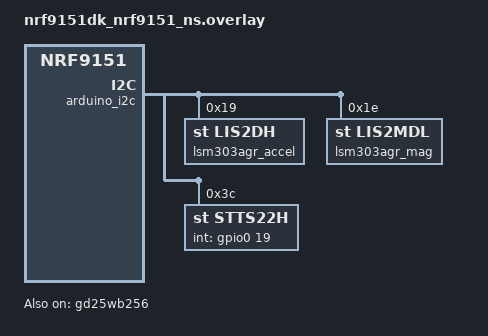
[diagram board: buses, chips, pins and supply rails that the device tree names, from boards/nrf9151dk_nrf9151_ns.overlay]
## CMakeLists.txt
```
cmake_minimum_required(VERSION 3.20.0)

set(DTC_OVERLAY_FILE ${CMAKE_CURRENT_SOURCE_DIR}/app0/boards/nrf9151dk_nrf9151_ns.overlay)

find_package(Zephyr REQUIRED HINTS $ENV{ZEPHYR_BASE})
project(app0)

target_include_directories(app PRIVATE app0/include)
target_sources(app PRIVATE
  app0/src/main.c
  app0/src/gnss.c
  app0/src/temperature.c
  app0/src/ecompass.c
  app0/src/firmware_update.c
)
```

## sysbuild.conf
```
# Enable NSIB (b0) as the first-stage immutable bootloader
SB_CONFIG_SECURE_BOOT_APPCORE=y

# Enable MCUboot as the second-stage upgradable bootloader
SB_CONFIG_BOOTLOADER_MCUBOOT=y

# image0 = app0, image1 = app1
SB_CONFIG_MCUBOOT_UPDATEABLE_IMAGES=2

# Disable sysbuild forcing UPDATEABLE_IMAGE_NUMBER=2 onto app images.
# With two-stage bootloader (b0+mcuboot) and two app images (app0/app1),
# apps need UPDATEABLE_IMAGE_NUMBER=3 so FLASH_AREA_IMAGE_SECONDARY(1)
# resolves to mcuboot_secondary_1 (app0 slot) not mcuboot_secondary (app1 slot).
# MCUboot already gets 3 (2 + 1 additional for s0/s1); apps must match.
SB_CONFIG_MCUBOOT_APP_SYNC_UPDATEABLE_IMAGES=n

# Use partition manager with the static YAML in the project root
SB_CONFIG_PARTITION_MANAGER=y

# Operational mode: swap (default)
SB_CONFIG_MCUBOOT_MODE_SWAP_USING_MOVE=y
#SB_CONFIG_MCUBOOT_MODE_OVERWRITE_ONLY=n

# Use external flash
SB_CONFIG_PM_EXTERNAL_FLASH_MCUBOOT_SECONDARY=y
SB_CONFIG_PM_OVERRIDE_EXTERNAL_DRIVER_CHECK=y
```

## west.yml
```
manifest:
  remotes:
    - name: ncs
      url-base: https://github.com/nrfconnect
    - name: savosaicic
      url-base: https://github.com/savosaicic

  projects:
    - name: nrf
      repo-path: sdk-nrf
      remote: savosaicic
      revision: lwm2m-fota-multi-image-support
      import: true

  self:
    path: nrf-multi-image-fota
```

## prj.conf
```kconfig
# General
CONFIG_REBOOT=y
CONFIG_LOG=y

# TF-M
CONFIG_TFM_PROFILE_TYPE_MINIMAL=y

# Heap and stacks
CONFIG_HEAP_MEM_POOL_SIZE=32768
CONFIG_MAIN_STACK_SIZE=8192
CONFIG_SYSTEM_WORKQUEUE_STACK_SIZE=4096

# Nrf modem
CONFIG_NRF_MODEM_LIB=y
CONFIG_MODEM_INFO=y
CONFIG_LTE_LINK_CONTROL=y
CONFIG_MODEM_KEY_MGMT=y # Needed by lwm2m_client_utils

# Networking
CONFIG_NETWORKING=y
CONFIG_NET_SOCKETS=y
CONFIG_NET_SOCKETS_OFFLOAD=y
CONFIG_DNS_RESOLVER=y

# LwM2M
CONFIG_LWM2M=y
CONFIG_LWM2M_COAP_BLOCK_SIZE=512
CONFIG_LWM2M_ENGINE_MAX_MESSAGES=10
CONFIG_LWM2M_ENGINE_MAX_OBSERVER=5
CONFIG_LWM2M_FIRMWARE_UPDATE_OBJ_SUPPORT=n
CONFIG_LWM2M_FIRMWARE_UPDATE_PULL_SUPPORT=y
CONFIG_LWM2M_RW_OMA_TLV_SUPPORT=y
CONFIG_LWM2M_CLIENT_UTILS=y
CONFIG_LWM2M_CLIENT_UTILS_ADV_FIRMWARE_UPDATE_OBJ_SUPPORT=y
CONFIG_LWM2M_CLIENT_UTILS_ADV_FOTA_INSTANCE_COUNT=3
CONFIG_FOTA_CLIENT_AUTOSCHEDULE_UPDATE=n
CONFIG_LWM2M_CLIENT_UTILS_SERVER="coap://<server>:5683"

# FOTA download
CONFIG_FOTA_DOWNLOAD=y
CONFIG_DOWNLOADER=y
CONFIG_DOWNLOADER_STACK_SIZE=4096

# External flash (secondary slot)
CONFIG_GPIO=y
CONFIG_SPI=y
CONFIG_SPI_NOR=y
CONFIG_SPI_NOR_SFDP_DEVICETREE=y
CONFIG_SPI_NOR_FLASH_LAYOUT_PAGE_SIZE=4096
# QSPI drivers are enabled by defualt for some chips.
# Disable it explicitly to be sure QSPI is disabled.
CONFIG_NORDIC_QSPI_NOR=n

# DFU target
CONFIG_DFU_TARGET=y
CONFIG_DFU_TARGET_MCUBOOT=y
CONFIG_DFU_TARGET_MODEM_DELTA=y
# 3 = app0(img0) + app1(img1) + mcuboot-s0/s1, matches MCUboot's slot table.
# APP_SYNC disabled in sysbuild.conf so sysbuild doesn't override this with 2.
CONFIG_UPDATEABLE_IMAGE_NUMBER=3
CONFIG_IMG_MANAGER=y
CONFIG_FLASH=y
CONFIG_FLASH_MAP=y
CONFIG_STREAM_FLASH=y
CONFIG_IMG_ERASE_PROGRESSIVELY=y

# Settings (required for FOTA state persistence)
CONFIG_NVS=y
CONFIG_FLASH_MAP=y
CONFIG_SETTINGS=y
CONFIG_SETTINGS_NVS=y
```

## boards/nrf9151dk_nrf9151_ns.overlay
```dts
#include <zephyr/dt-bindings/sensor/stts22h.h>

&gd25wb256 {
    status = "okay";
};

/ {
    chosen {
        nordic,pm-ext-flash = &gd25wb256;
    };
};

&arduino_i2c {
    status = "okay";

    lsm303agr_accel: lsm303agr_accel@19 {
        compatible = "st,lis2dh";
        reg = <0x19>;
    };

    lsm303agr_mag: lsm303agr_mag@1e {
        compatible = "st,lis2mdl";
        reg = <0x1e>;
    };

    stts22h: stts22h@3c {
      compatible = "st,stts22h";
      reg = <0x3c>;
      sampling-rate = <STTS22H_1Hz>;
      int-gpios = <&gpio0 19 GPIO_ACTIVE_HIGH>;
    };
};
```

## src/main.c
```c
#include <modem/lte_lc.h>
#include <zephyr/kernel.h>
#include <zephyr/logging/log.h>
#include <zephyr/net/lwm2m.h>
#include <zephyr/sys/reboot.h>
#include <modem/nrf_modem_lib.h>
#include <net/lwm2m_client_utils.h>

#include "temperature.h"
#include "ecompass.h"
#include "firmware_update.h"

LOG_MODULE_REGISTER(nrf91_lwm2m_client);

#define ENDPOINT_NAME "your-endpoint-name"
#define SERVER_ID     1
#define LIFETIME_S    60

static K_SEM_DEFINE(lte_connected, 0, 1);

static const char manufacturer[] = "Nordic Semiconductor";
static const char model[]        = "nRF9151-DK";
static const char serial[]       = "SN-001";
static const char fw_ver[]       = "1.0.0";

static struct lwm2m_ctx client_ctx;

static void lte_handler(const struct lte_lc_evt *const evt)
{
  switch (evt->type) {
  case LTE_LC_EVT_NW_REG_STATUS:
    if (evt->nw_reg_status != LTE_LC_NW_REG_REGISTERED_HOME &&
        evt->nw_reg_status != LTE_LC_NW_REG_REGISTERED_ROAMING) {
      break;
    }
    LOG_INF("LTE registered: %s",
            evt->nw_reg_status == LTE_LC_NW_REG_REGISTERED_HOME ? "home network"
                                                                : "roaming");
    k_sem_give(&lte_connected);
    break;

  case LTE_LC_EVT_RRC_UPDATE:
    LOG_INF("RRC mode: %s",
            evt->rrc_mode == LTE_LC_RRC_MODE_CONNECTED ? "connected" : "idle");
    break;
  default:
    break;
  }
}

static int modem_configure(void)
{
  int err;

  LOG_INF("Initializing modem library");
  err = nrf_modem_lib_init();
  if (err) {
    LOG_ERR("Failed to initialize the modem library, error: %d", err);
    return err;
  }

  LOG_INF("Connecting to LTE network");
  err = lte_lc_connect_async(lte_handler);
  if (err) {
    LOG_ERR("lte_lc_connect_async failed: %d", err);
    return err;
  }

  k_sem_take(&lte_connected, K_FOREVER);
  LOG_INF("Connected to LTE network");

  return 0;
}

static void observe_cb(enum lwm2m_observe_event event,
                       struct lwm2m_obj_path *path, void *user_data)
{
  char buf[LWM2M_MAX_PATH_STR_SIZE];

  switch (event) {
  case LWM2M_OBSERVE_EVENT_OBSERVER_ADDED:
    LOG_INF("Observer added for %s", lwm2m_path_log_buf(buf, path));
    break;
  case LWM2M_OBSERVE_EVENT_OBSERVER_REMOVED:
    LOG_INF("Observer removed for %s", lwm2m_path_log_buf(buf, path));
    break;
  case LWM2M_OBSERVE_EVENT_NOTIFY_ACK:
    LOG_INF("Notify ACK for %s", lwm2m_path_log_buf(buf, path));
    break;
  case LWM2M_OBSERVE_EVENT_NOTIFY_TIMEOUT:
    LOG_WRN("Notify timeout for %s — triggering reg update",
            lwm2m_path_log_buf(buf, path));
    lwm2m_rd_client_update();
    break;
  }
}

static void rd_client_event(struct lwm2m_ctx *client,
                            enum lwm2m_rd_client_event event)
{
  switch (event) {
  case LWM2M_RD_CLIENT_EVENT_NONE:
    break;
  case LWM2M_RD_CLIENT_EVENT_BOOTSTRAP_REG_FAILURE:
    LOG_ERR("Bootstrap registration failure");
    break;
  case LWM2M_RD_CLIENT_EVENT_BOOTSTRAP_REG_COMPLETE:
    LOG_INF("Bootstrap registration complete");
    break;
  case LWM2M_RD_CLIENT_EVENT_BOOTSTRAP_TRANSFER_COMPLETE:
    LOG_INF("Bootstrap transfer complete");
    break;
  case LWM2M_RD_CLIENT_EVENT_REGISTRATION_FAILURE:
    LOG_ERR("Registration failure");
    break;
  case LWM2M_RD_CLIENT_EVENT_REGISTRATION_COMPLETE:
    LOG_INF("Registration complete");
    break;
  case LWM2M_RD_CLIENT_EVENT_REG_TIMEOUT:
    LOG_WRN("Registration timeout");
    break;
  case LWM2M_RD_CLIENT_EVENT_REG_UPDATE_COMPLETE:
    LOG_INF("Registration update complete");
    break;
  case LWM2M_RD_CLIENT_EVENT_DEREGISTER_FAILURE:
    LOG_ERR("Deregister failure");
    break;
  case LWM2M_RD_CLIENT_EVENT_DISCONNECT:
    LOG_WRN("Disconnected");
    break;
  case LWM2M_RD_CLIENT_EVENT_QUEUE_MODE_RX_OFF:
    LOG_DBG("Queue mode RX window closed");
    break;
  case LWM2M_RD_CLIENT_EVENT_ENGINE_SUSPENDED:
    LOG_DBG("Engine suspended");
    break;
  case LWM2M_RD_CLIENT_EVENT_SERVER_DISABLED:
    LOG_DBG("Server disabled");
    break;
  case LWM2M_RD_CLIENT_EVENT_REG_UPDATE:
    LOG_DBG("Registration update sent");
    break;
  case LWM2M_RD_CLIENT_EVENT_DEREGISTER:
    LOG_DBG("Deregister sent");
    break;

  /*
   * NETWORK_ERROR must call lwm2m_rd_client_stop()
   * Failing to do so leaves the engine in a broken state
   */
  case LWM2M_RD_CLIENT_EVENT_NETWORK_ERROR:
    LOG_ERR("Network error, stopping client");
    lwm2m_rd_client_stop(client, rd_client_event, true);
    break;
  }
}

static int device_reboot_cb(uint16_t obj_inst_id, uint8_t *args,
                            uint16_t args_len)
{
  LOG_INF("Reboot requested by server");
  sys_reboot(SYS_REBOOT_COLD);
  return 0;
}

/*
 * Server Object (ID 1)
 * Short Server ID is set by lwm2m_client_utils; we only override the rest.
 */
static void setup_server_object(void)
{
  /* Resource 1: Lifetime */
  lwm2m_set_u32(&LWM2M_OBJ(1, 0, 1), LIFETIME_S);

  /* Resource 6: Notification storing while disabled/offline */
  lwm2m_set_bool(&LWM2M_OBJ(1, 0, 6), false);

  /* Resource 7: Binding: "U" = UDP */
  lwm2m_set_string(&LWM2M_OBJ(1, 0, 7), "U");
}

/* Called by lwm2m_client_utils to acknowledge a pending CoAP request */
void client_acknowledge(void)
{
  lwm2m_acknowledge(&client_ctx);
}

/*
 * Device Object (ID 3)
 * Object describing the device itself
 */
static void setup_device_object(void)
{
  lwm2m_set_res_buf(&LWM2M_OBJ(3, 0, 0), (void *)manufacturer,
                    sizeof(manufacturer), sizeof(manufacturer),
                    LWM2M_RES_DATA_FLAG_RO);
  lwm2m_set_res_buf(&LWM2M_OBJ(3, 0, 1), (void *)model, sizeof(model),
                    sizeof(model), LWM2M_RES_DATA_FLAG_RO);
  lwm2m_set_res_buf(&LWM2M_OBJ(3, 0, 2), (void *)serial, sizeof(serial),
                    sizeof(serial), LWM2M_RES_DATA_FLAG_RO);
  lwm2m_set_res_buf(&LWM2M_OBJ(3, 0, 3), (void *)fw_ver, sizeof(fw_ver),
                    sizeof(fw_ver), LWM2M_RES_DATA_FLAG_RO);

  /* Register reboot cb */
  lwm2m_register_exec_callback(&LWM2M_OBJ(3, 0, 4), device_reboot_cb);
}

static int lwm2m_setup(void)
{
  int ret;

  /* Writes server URL from CONFIG_LWM2M_CLIENT_UTILS_SERVER and sets NoSec */
  ret = lwm2m_init_security(&client_ctx, ENDPOINT_NAME, NULL);
  if (ret < 0) {
    LOG_ERR("Failed to init security object: %d", ret);
    return ret;
  }

  setup_server_object();
  setup_device_object();

  ret = setup_firmware_object();
  if (ret < 0) {
    LOG_ERR("Firmware object setup failed: %d", ret);
    return ret;
  }

  ret = setup_temperature_sensor();
  if (ret < 0) {
    LOG_ERR("Temperature object setup failed: %d", ret);
    return ret;
  }

  ret = setup_ecompass();
  if (ret < 0) {
    LOG_ERR("eCompass object setup failed: %d", ret);
    return ret;
  }

  return 0;
}

int main(void)
{
  int ret;

  LOG_INF("*** BANK1 ***");

  ret = modem_configure();
  if (ret) {
    LOG_ERR("modem_configure failed: %d", ret);
    return ret;
  }

  LOG_INF("Starting LwM2M client");
  memset(&client_ctx, 0, sizeof(client_ctx));
  ret = lwm2m_setup();
  if (ret < 0) {
    LOG_ERR("LwM2M setup failed: %d", ret);
    return ret;
  }

  lwm2m_rd_client_start(&client_ctx, ENDPOINT_NAME, 0, rd_client_event,
                        observe_cb);

  while (1) {
    k_sleep(K_FOREVER);
  }

  return 0;
}
```

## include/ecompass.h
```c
#ifndef ECOMPASS_H
#define ECOMPASS_H

int setup_ecompass(void);

#endif /* !ECOMPASS_H */
```

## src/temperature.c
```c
#include <zephyr/kernel.h>
#include <zephyr/logging/log.h>
#include <zephyr/net/lwm2m.h>
#include <zephyr/drivers/sensor.h>

LOG_MODULE_REGISTER(temp_sensor);

/* STTS22H Operating temperature */
#define STTS22H_TEMP_MIN -40.0
#define STTS22H_TEMP_MAX 125.0

static const struct device *stts22h = DEVICE_DT_GET(DT_NODELABEL(stts22h));

static struct k_work_delayable temp_work;

#define TEMP_UPDATE_INTERVAL_S 10

static void temp_work_handler(struct k_work *work)
{
  struct sensor_value temperature;
  double              dtemp;
  int                 ret;

  ret = sensor_sample_fetch(stts22h);
  if (ret < 0) {
    LOG_ERR("Failed to fetch temperature sample: %d", ret);
    goto reschedule;
  }

  ret = sensor_channel_get(stts22h, SENSOR_CHAN_AMBIENT_TEMP, &temperature);
  if (ret < 0) {
    LOG_ERR("Failed to get temperature data: %d", ret);
    goto reschedule;
  }

  dtemp = sensor_value_to_double(&temperature);
  ret   = lwm2m_set_f64(&LWM2M_OBJ(3303, 0, 5700), dtemp);
  if (ret < 0) {
    LOG_ERR("Failed to update temperature: %d", ret);
  } else {
    LOG_DBG("Temperature updated: %.1f C", dtemp);
  }

reschedule:
  k_work_schedule(&temp_work, K_SECONDS(TEMP_UPDATE_INTERVAL_S));
}

int setup_temperature_sensor(void)
{
  int ret;

  if (!device_is_ready(stts22h)) {
    LOG_ERR("STTS22H not ready");
    return -ENODEV;
  }

  ret = lwm2m_create_object_inst(&LWM2M_OBJ(3303, 0));
  if (ret < 0 && ret != -EEXIST) {
    LOG_ERR("Failed to create Temperature object instance: %d", ret);
    return ret;
  }

  ret = lwm2m_set_f64(&LWM2M_OBJ(3303, 0, 5603), STTS22H_TEMP_MIN);
  if (ret < 0) {
    LOG_ERR("Failed to set temp min range: %d", ret);
    return ret;
  }

  ret = lwm2m_set_f64(&LWM2M_OBJ(3303, 0, 5604), STTS22H_TEMP_MAX);
  if (ret < 0) {
    LOG_ERR("Failed to set temp max range: %d", ret);
    return ret;
  }

  ret = lwm2m_set_string(&LWM2M_OBJ(3303, 0, 5701), "Celsius");
  if (ret < 0) {
    LOG_ERR("Failed to set sensor units: %d", ret);
    return ret;
  }

  k_work_init_delayable(&temp_work, temp_work_handler);
  k_work_schedule(&temp_work, K_NO_WAIT);

  return 0;
}
```
